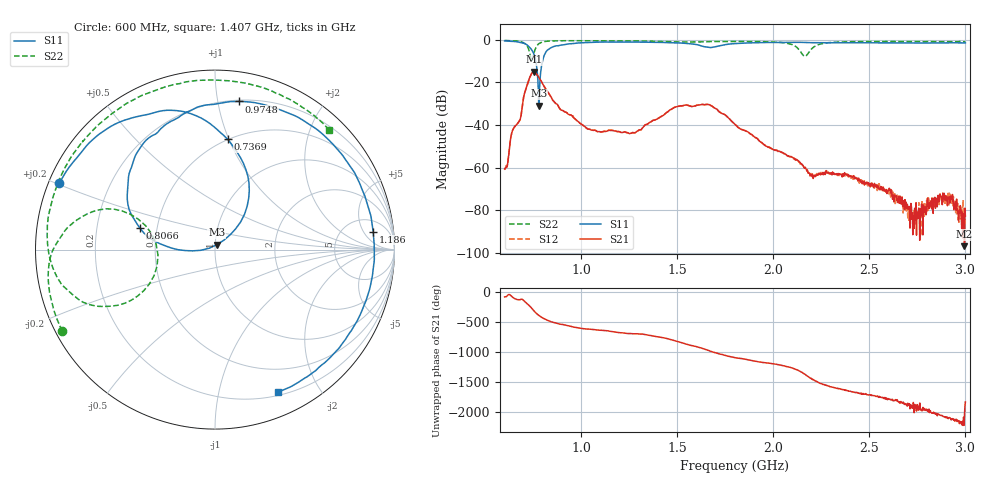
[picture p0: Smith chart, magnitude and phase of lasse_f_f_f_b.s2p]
#  HZ  S  RI  R  50.00
! Rohde & Schwarz ZVB8 2Ports - Version 2.81 - 1145.1010k08 SN: 100113
! Date: 2016-05-04 02:50:38
! Measurements: S11 S21 S12 S22
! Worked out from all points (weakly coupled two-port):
!   1000 points, 600 MHz to 3 GHz, reference 50 ohm
!   highest |S21| = -15.03 dB at 751.4 MHz (marker M1); lowest = -96.8 dB at 2.995 GHz (marker M2)
!   lowest |S11| = -30.9 dB at 777.8 MHz (marker M3), VSWR 1.06, Z = 50.9 + j2.74 ohm
!   |S11| at or under -10 dB: 762.4 MHz to 797.7 MHz (35.24 MHz wide, 4.52 % of centre)
!   |S22| runs from -9.9 to -0.3 dB; largest |S21 - S12| = 0.003
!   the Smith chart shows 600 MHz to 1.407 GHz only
!   S11 on the Smith chart (normalised r, x): 600 MHz: 0.03, +0.20; 736.9 MHz: 0.50, +0.99; 806.6 MHz: 0.40, +0.12; 974.8 MHz: 0.21, +1.15; 1.186 GHz: 9, +8; 1.407 GHz: 0.23, -1.51
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6e8  -0.8665 0.37  0.000105 -0.000921  0.000136 -0.000908  -0.8521 -0.4538
6.888889e8  -0.3907 0.75  -0.0108 -0.0184  -0.0106 -0.0185  -0.8926 0.0178
7.369369e8  0.0712 0.6141  -0.0374 0.1443  -0.036 0.1448  -0.3524 0.0875
7.513514e8  0.1723 0.4452  0.1116 0.1378  0.1102 0.1381  -0.397 -0.2293
7.777778e8  0.00941 0.0269  0.1162 -0.0641  0.1164 -0.0634  -0.7578 -0.2794
8.066066e8  -0.4179 0.1186  0.00515 -0.0793  0.00572 -0.0794  -0.9031 -0.1029
9.747748e8  0.1323 0.8254  -0.00755 0.0105  -0.00757 0.0104  -0.7586 0.5755
1.001201e9  0.2764 0.8066  -0.00421 0.00953  -0.00424 0.00952  -0.6973 0.6471
1.186186e9  0.8812 0.1003  0.00468 0.00529  0.0047 0.00526  -0.1211 0.9403
1.4e9  0.3806 -0.7816  0.0129 -0.00644  0.0129 -0.00636  0.6174 0.6869
1.407207e9  0.3496 -0.7946  0.013 -0.00763  0.013 -0.00765  0.6359 0.6654
1.657057e9  -0.4813 -0.4652  -0.0121 0.028  -0.0124 0.0279  0.8892 -0.1656
1.801201e9  -0.7779 -0.2523  0.01 -0.00245  0.00995 -0.0024  0.6409 -0.6491
2.101502e9  -0.3953 0.7704  -0.00169 0.00025  -0.00172 0.00022  -0.4089 -0.6373
2.154354e9  -0.1848 0.8505  -1.28e-05 0.00112  -3.83e-05 0.00111  -0.2559 -0.3547
2.2e9  0.000984 0.8563  0.000643 -9.89e-05  0.00064 -0.0001  -0.0906 -0.6138
2.421021e9  0.76 0.3874  -0.000393 0.000443  -0.000423 0.000402  -0.7833 -0.4547
2.601201e9  0.761 -0.3725  0.00028 0.000108  0.000236 5.95e-05  -0.9122 -0.0196
2.790991e9  0.1626 -0.8253  -0.000113 -2.66e-05  -0.000122 -3.83e-05  -0.8086 0.4054
2.877477e9  -0.1502 -0.8289  -6.04e-05 0.000191  -4.37e-05 0.000132  -0.7044 0.569
2.995195e9  -0.5438 -0.6489  -6.72e-07 1.44e-05  3.53e-05 -1.3e-05  -0.5044 0.7425
3e9  -0.5556 -0.6379  6.32e-05 -3.52e-05  7.38e-05 7.9e-07  -0.4936 0.7504
